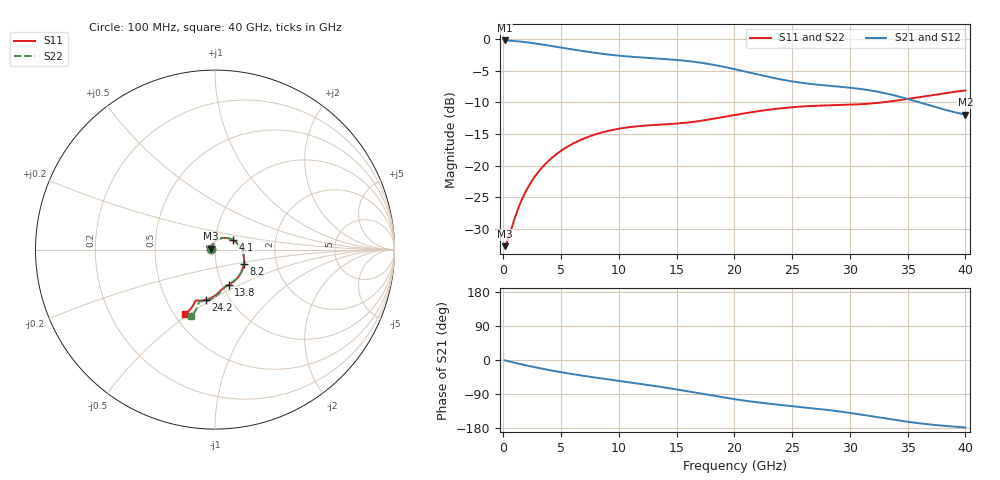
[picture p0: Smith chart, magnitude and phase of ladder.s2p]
! D_s8_stitch_5p0: via ladder as kisi uses it (kisi_si::via_pbm, graded grid, junction model), ports at the via
# Hz S RI R 50
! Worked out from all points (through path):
!   400 points, 100 MHz to 40 GHz, reference 50 ohm
!   highest |S21| = -0.21 dB at 100 MHz (marker M1); lowest = -11.9 dB at 40 GHz (marker M2)
!   group delay of S21, straight-line fit = 12.1 ps
!   lowest |S11| = -32.8 dB at 100 MHz (marker M3), VSWR 1.05, Z = 47.8 + j0.461 ohm
!   |S11| at or under -10 dB: start of sweep to 32.82 GHz
!   |S22| runs from -32.8 to -8.1 dB; largest |S21 - S12| = 0
!   S11 on the Smith chart (normalised r, x): 100 MHz: 0.96, +0.01; 4.1 GHz: 1.21, +0.13; 8.2 GHz: 1.36, -0.22; 13.8 GHz: 1.07, -0.44; 24.2 GHz: 0.78, -0.47; 40 GHz: 0.57, -0.48
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1e8  -0.0225 0.00482  0.9765 -0.0136  0.9765 -0.0136  -0.0225 0.00481
4e8  -0.0192 0.0176  0.9726 -0.0528  0.9726 -0.0528  -0.0192 0.0176
1.3e9  0.00107 0.0463  0.9462 -0.1605  0.9462 -0.1605  0.000804 0.0464
2e9  0.0235 0.0597  0.9146 -0.235  0.9146 -0.235  0.0229 0.0599
3e9  0.0601 0.0649  0.8577 -0.3264  0.8577 -0.3264  0.0592 0.0657
4.1e9  0.0998 0.053  0.7861 -0.4066  0.7861 -0.4066  0.0986 0.0546
5.3e9  0.1346 0.023  0.7051 -0.4725  0.7051 -0.4725  0.1334 0.0259
6.8e9  0.1586 -0.0284  0.6077 -0.5305  0.6077 -0.5305  0.158 -0.024
8.2e9  0.1608 -0.0791  0.524 -0.5688  0.524 -0.5688  0.1613 -0.0735
1.08e10  0.1282 -0.1545  0.3835 -0.6204  0.3835 -0.6204  0.1314 -0.1478
1.34e10  0.0815 -0.1937  0.242 -0.6587  0.242 -0.6587  0.0875 -0.1871
1.38e10  0.0752 -0.1974  0.2186 -0.6627  0.2186 -0.6627  0.0816 -0.1907
1.68e10  0.0402 -0.2203  0.0324 -0.6554  0.0324 -0.6554  0.0496 -0.2143
1.85e10  0.0237 -0.2362  -0.0653 -0.6153  -0.0653 -0.6153  0.035 -0.2309
2.01e10  0.00558 -0.252  -0.1376 -0.56  -0.1376 -0.56  0.0187 -0.2478
2.2e10  -0.0194 -0.2681  -0.195 -0.4885  -0.195 -0.4885  -0.00435 -0.2656
2.42e10  -0.0503 -0.2803  -0.2335 -0.4159  -0.2335 -0.4159  -0.0334 -0.2802
2.67e10  -0.0821 -0.2846  -0.2659 -0.352  -0.2659 -0.352  -0.0637 -0.2873
3.1e10  -0.1092 -0.2857  -0.3269 -0.2351  -0.3269 -0.2351  -0.0888 -0.2919
3.34e10  -0.1159 -0.2992  -0.3351 -0.1499  -0.3351 -0.1499  -0.0934 -0.3067
3.65e10  -0.1331 -0.3271  -0.3009 -0.06  -0.3009 -0.06  -0.1061 -0.3369
4e10  -0.1659 -0.3564  -0.2527 -0.00888  -0.2527 -0.00888  -0.1332 -0.3706
